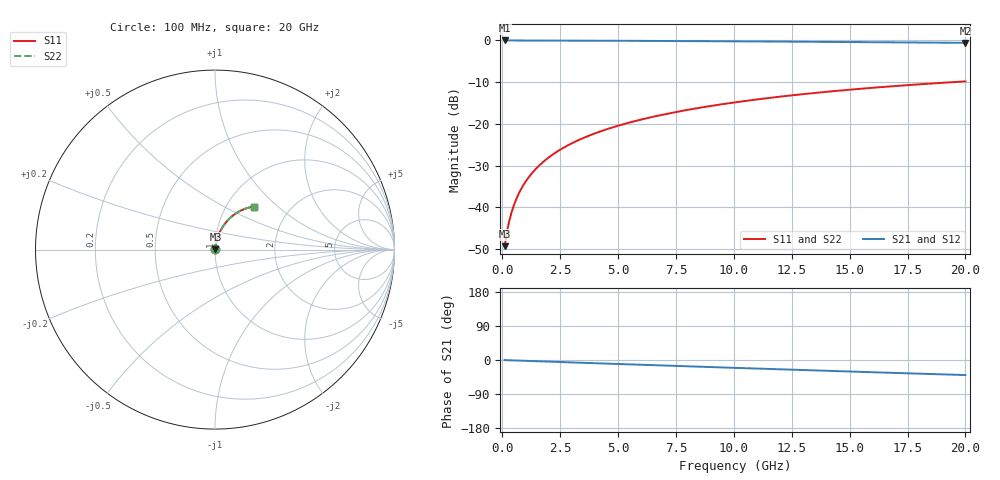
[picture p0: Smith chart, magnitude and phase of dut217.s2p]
! Touchstone file exported from HFSS 2026.1.0
!  File:  C:/ffzhzh/LocalFiles/Ansys_Project_Files/temp_train_TMRDL_217_1782984262_40604.aedt
!  Generated:  05:25:39 PM Jul  2, 2026
!  Design:  TMRDL
!  Project:  temp_train_TMRDL_217_1782984262_40604
! Variables:
!  h_bsmrdl = 2um
!  h_ox = 20um
!  h_rdl = 5um
!  h_sub = 80um
!  h_tmrdl = 5.75um
!  h_tsv = 80um
!  h_via = 3um
!  l_bsmrdl = 300um
!  l_sub = 1026.95um
!  l_tmrdl = 626.95um
!  m_sub = 200um
!  pitch = 33.88um
!  r_tsv = 6um
!  s_tmrdl = 10um
!  w_bsmrdl = 18um
!  w_sub = 500um
!  w_tmrdl = 15.08um
!  x_tsv_center1 = 634.49um
!  x_tsv_center2 = 952.49um
!  x_tsv_center3 = 1594.52um
!  x_tsv_center4 = 1912.52um
!  x_tsv_center5 = 2554.55um
!  x_tsv_center6 = 2872.55um
# GHz S MA R 50.000000
! Terminal data exported
! Port[1] = TM_RDL1_1_T1
! Port[2] = TM_RDL1_1_T2
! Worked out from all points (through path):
!   200 points, 100 MHz to 20 GHz, reference 50 ohm
!   highest |S21| = -0.02 dB at 100 MHz (marker M1); lowest = -0.6 dB at 20 GHz (marker M2)
!   group delay of S21, straight-line fit = 5.51 ps
!   lowest |S11| = -49.3 dB at 100 MHz (marker M3), VSWR 1.01, Z = 50.3 + j0.216 ohm
!   |S11| at or under -10 dB: start of sweep to 19.49 GHz
!   |S22| runs from -49.3 to -9.8 dB; largest |S21 - S12| = 2.6e-15
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0.1  0.003427 38.7  0.9973 -0.2  0.9973 -0.2  0.003427 38.7
! Gamma 0 0 0 0
! Port Impedance 50 0 50 0
0.2  0.005058 56.0  0.9972 -0.4  0.9972 -0.4  0.005058 56.0
0.3  0.006853 64.2  0.9971 -0.7  0.9971 -0.7  0.006853 64.2
0.4  0.008699 69.0  0.997 -0.9  0.997 -0.9  0.008699 69.0
0.5  0.01058 72.1  0.9969 -1.1  0.9969 -1.1  0.01058 72.1
0.6  0.01248 74.2  0.9968 -1.3  0.9968 -1.3  0.01248 74.2
0.8  0.01632 76.8  0.9966 -1.7  0.9966 -1.7  0.01632 76.9
1.1  0.02212 78.8  0.9964 -2.4  0.9964 -2.4  0.02212 78.8
1.5  0.02988 79.7  0.9959 -3.2  0.9959 -3.2  0.02988 79.7
1.8  0.03567 79.8  0.9955 -3.9  0.9955 -3.9  0.03566 79.8
2.1  0.04142 79.7  0.995 -4.5  0.995 -4.5  0.04142 79.7
2.7  0.05281 79.1  0.9939 -5.8  0.9939 -5.8  0.05281 79.1
3.5  0.06774 77.9  0.9922 -7.5  0.9922 -7.5  0.06774 77.9
4.2  0.08056 76.7  0.9906 -8.9  0.9906 -8.9  0.08056 76.7
5  0.09497 75.3  0.9887 -10.6  0.9887 -10.6  0.09496 75.3
5.9  0.1109 73.7  0.9863 -12.4  0.9863 -12.4  0.1109 73.7
6.8  0.1266 72.1  0.9838 -14.2  0.9838 -14.2  0.1266 72.1
8.3  0.1521 69.3  0.9793 -17.3  0.9793 -17.3  0.1521 69.3
10.1  0.1817 66.0  0.9734 -20.8  0.9734 -20.8  0.1817 66.0
13.4  0.2331 59.9  0.9613 -27.3  0.9613 -27.3  0.2331 60.0
16.7  0.2801 53.9  0.9478 -33.6  0.9478 -33.6  0.2801 53.9
20  0.3224 48.0  0.9338 -39.7  0.9338 -39.7  0.3224 48.0
